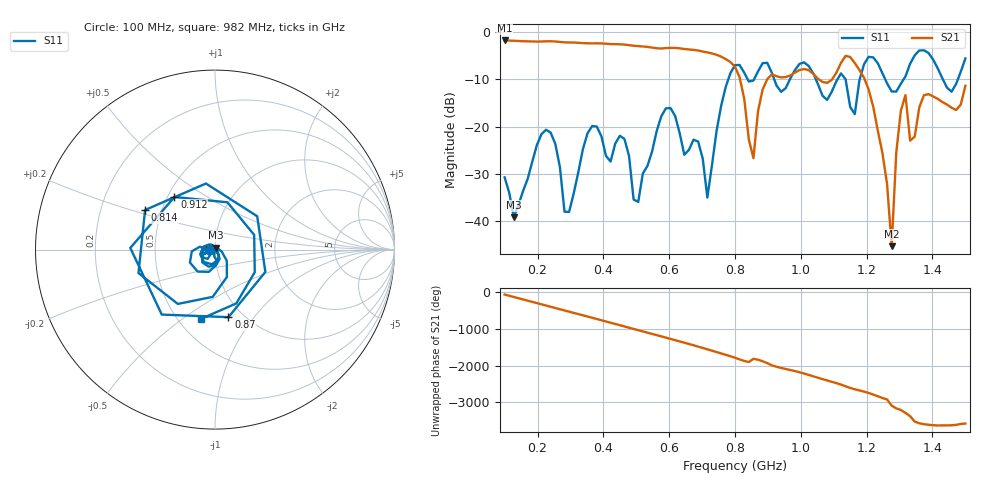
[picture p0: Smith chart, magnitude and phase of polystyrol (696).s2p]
! NanoVNA-App
! Date: 2025-09-25 15:35:18
! Start: 100MHz Stop: 1,5GHz Points: 101
! S-Parameter data: F S11 S21 S12 S22
# Hz S RI R 50
!  Frequency  S11_Real  S11_Imag  S21_Real  S21_Imag  S12_Real  S12_Imag  S22_Real  S22_Imag
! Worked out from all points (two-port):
!   101 points, 100 MHz to 1.5 GHz, reference 50 ohm
!   highest |S21| = -1.80 dB at 100 MHz (marker M1); lowest = -45.2 dB at 1.276 GHz (marker M2)
!   |S21| within 3 dB of the highest: start of sweep to 743.1 MHz
!   lowest |S11| = -39.1 dB at 128 MHz (marker M3), VSWR 1.02, Z = 50.3 + j1.06 ohm
!   |S11| at or under -10 dB: start of sweep to 779.7 MHz; 1.046 GHz to 1.111 GHz (65.83 MHz wide, 6.1 % of centre); 1.136 GHz to 1.179 GHz (42.9 MHz wide, 3.71 % of centre) (the widest 3 of 7)
!   S12 and S22 are empty: the file has one direction only
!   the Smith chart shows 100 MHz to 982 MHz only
!   S11 on the Smith chart (normalised r, x): 100 MHz: 0.94, -0.01; 814 MHz: 0.40, +0.22; 870 MHz: 0.85, -0.75; 912 MHz: 0.54, +0.37; 982 MHz: 0.64, -0.59
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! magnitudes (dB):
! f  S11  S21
! 100 MHz  -30.7  -1.8
! 128 MHz  -39.1  -1.9
! 212 MHz  -21.6  -2.0
! 282 MHz  -38.0  -2.2
! 338 MHz  -24.7  -2.4
! 464 MHz  -22.6  -2.7
! 506 MHz  -35.9  -3.0
! 576 MHz  -17.8  -3.5
! 716 MHz  -35.0  -4.3
! 800 MHz  -7.0  -7.3
! 814 MHz  -7.0  -9.6
! 856 MHz  -10.3  -26.6
! 870 MHz  -8.3  -16.7
! 912 MHz  -8.6  -9.0
! 982 MHz  -8.1  -8.6
! 1.038 GHz  -8.8  -8.9
! 1.164 GHz  -17.3  -6.6
! 1.192 GHz  -6.8  -9.7
! 1.276 GHz  -12.6  -45.2
! 1.318 GHz  -9.4  -13.3
! 1.332 GHz  -6.7  -23.0
! 1.5 GHz  -5.6  -11.4
